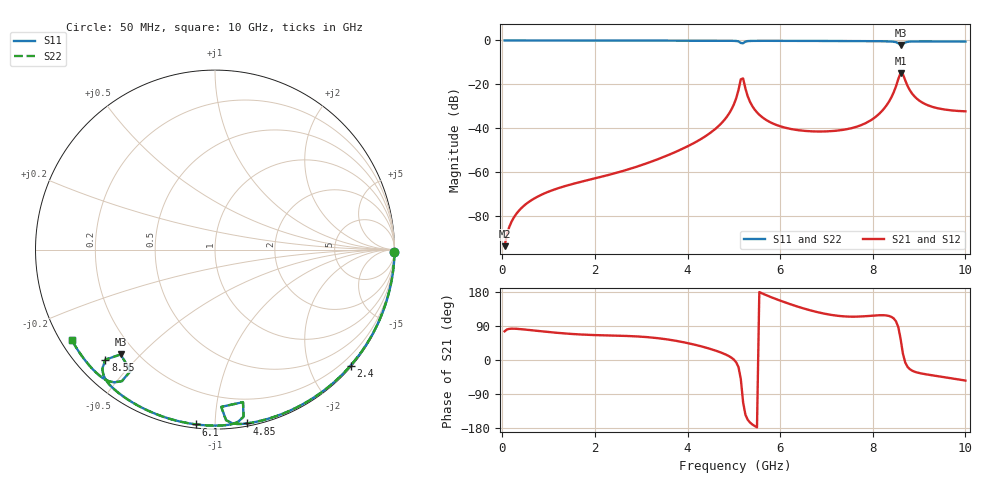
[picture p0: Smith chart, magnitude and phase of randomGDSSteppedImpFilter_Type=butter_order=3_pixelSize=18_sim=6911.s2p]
! freq	dB(S11)	phase(S11)	dB(S12)	phase(S12)
!  dB(S21)	phase(S21)	dB(S22)	phase(S22)
!S-par simulation data
#  GHz  S  DB  R 50
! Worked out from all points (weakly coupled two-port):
!   200 points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, 50 MHz to 10 GHz, reference 50 ohm
!   highest |S21| = -14.82 dB at 8.6 GHz (marker M1); lowest = -93.9 dB at 50 MHz (marker M2)
!   lowest |S11| = -2.1 dB at 8.6 GHz (marker M3), VSWR 8.33, Z = 7.18 - j21.9 ohm
!   |S11| at or under -10 dB: nowhere
!   |S22| runs from -2.1 to 0.0 dB; largest |S21 - S12| = 0
!   S11 on the Smith chart (normalised r, x): 50 MHz: open; 2.4 GHz: 0.02, -2.71; 4.85 GHz: 0.02, -1.20; 6.1 GHz: 0.02, -0.90; 8.55 GHz: 0.08, -0.41; 10 GHz: 0.03, -0.29
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0.05  -0.00 -0.9  -93.94 75.7  -93.94 75.7  -0.00 -0.9
0.25  -0.00 -4.3  -80.84 82.7  -80.84 82.7  -0.00 -4.3
0.9  -0.02 -15.5  -69.92 75.1  -69.92 75.1  -0.02 -15.5
1.75  -0.04 -29.8  -64.27 67.0  -64.27 67.0  -0.04 -29.8
2.4  -0.05 -40.5  -60.82 64.4  -60.82 64.4  -0.05 -40.5
3.4  -0.08 -56.6  -53.89 57.0  -53.89 57.0  -0.08 -56.6
4.35  -0.10 -71.5  -44.24 34.2  -44.24 34.2  -0.10 -71.5
4.85  -0.13 -79.7  -34.82 13.0  -34.82 13.0  -0.13 -79.7
5.05  -0.25 -84.3  -26.43 -6.0  -26.43 -6.0  -0.25 -84.3
5.15  -1.14 -87.7  -17.74 -49.6  -17.74 -49.6  -1.14 -87.7
5.2  -1.27 -79.6  -17.34 -111.4  -17.34 -111.4  -1.27 -79.6
5.3  -0.29 -82.2  -25.52 -157.7  -25.52 -157.7  -0.29 -82.2
5.5  -0.17 -86.8  -32.84 -177.7  -32.84 -177.7  -0.17 -86.8
6.1  -0.18 -96.1  -39.80 152.3  -39.80 152.3  -0.18 -96.1
6.7  -0.21 -104.7  -41.52 129.5  -41.52 129.5  -0.21 -104.7
7.75  -0.29 -119.4  -38.66 114.9  -38.66 114.9  -0.29 -119.4
8.35  -0.44 -129.2  -27.94 116.2  -27.94 116.2  -0.44 -129.2
8.55  -1.25 -134.9  -17.70 87.3  -17.70 87.3  -1.26 -134.9
8.6  -2.10 -132.0  -14.82 56.5  -14.82 56.5  -2.10 -132.0
8.7  -0.93 -125.3  -18.17 -6.4  -18.17 -6.4  -0.93 -125.3
9.05  -0.42 -134.1  -28.12 -35.6  -28.12 -35.6  -0.42 -134.1
10  -0.50 -147.9  -32.36 -54.3  -32.36 -54.3  -0.50 -147.9
